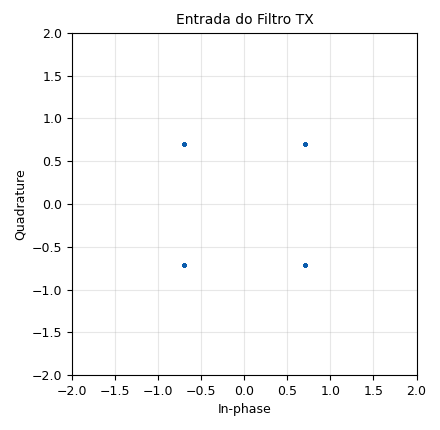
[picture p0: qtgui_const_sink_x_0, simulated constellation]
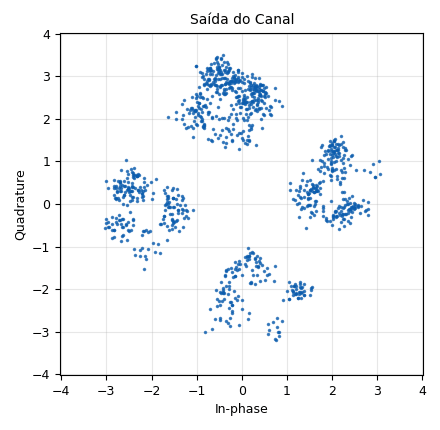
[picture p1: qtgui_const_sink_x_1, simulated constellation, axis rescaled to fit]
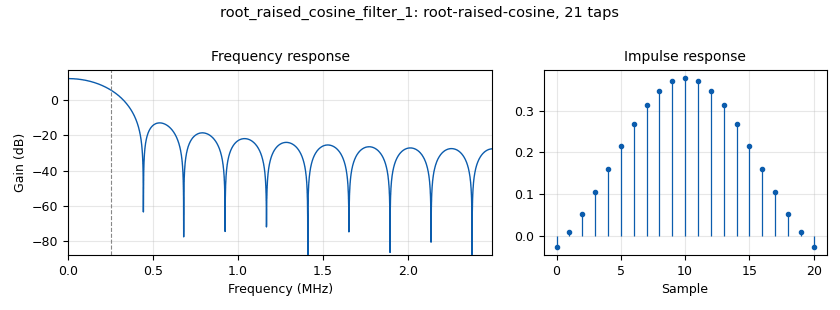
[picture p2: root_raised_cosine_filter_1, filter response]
options:
  parameters:
    author: picinin
    generate_options: qt_gui
    id: projetoDSPII
    output_language: python
    title: Not titled yet
  states: {}

blocks:
- name: QAM4
  id: variable_constellation
  parameters:
    const_points: '[-1-1j, -1+1j, 1+1j, 1-1j]'
    dims: '1'
    normalization: digital.constellation.AMPLITUDE_NORMALIZATION
    precision: '8'
    rot_sym: '4'
    sym_map: '[0, 1, 2, 3]'
    type: calcdist
  states: {}
- name: alga
  id: variable_adaptive_algorithm
  parameters:
    cons: QAM4
    modulus: '4'
    step_size: '.005'
    type: lms
  states: {}
- name: alpha
  id: variable_qtgui_range
  parameters:
    gui_hint: 0,0,1,1
    rangeType: int
    start: '0'
    step: '1'
    stop: '16'
    value: '0'
  states: {}
- name: bb_rate
  id: variable
  parameters:
    value: 5e5
  states: {}
- name: head
  id: variable_tag_object
  parameters:
    key: pmt.intern("training_start")
    offset: '1'
    src: pmt.intern("src")
    value: pmt.intern("Training Sequence")
  states: {}
- name: interp
  id: variable
  parameters:
    value: '10'
  states: {}
- name: message
  id: variable
  parameters:
    value: list(ord(i) for i in 'Teste QPSK...')
  states: {}
- name: preamble
  id: variable
  parameters:
    value: list(ord(i) for i in "Sequencia de treinamento do preambulo da mensagem...")
  states: {}
- name: samp_rate
  id: variable
  parameters:
    value: '32000'
  states: {}
- name: sym_dly
  id: variable_qtgui_range
  parameters:
    gui_hint: 0,1,1,1
    rangeType: int
    start: '0'
    step: '1'
    stop: '16'
    value: '0'
  states: {}
- name: analog_noise_source_x_0
  id: analog_noise_source_x
  parameters:
    amp: '0.03'
    noise_type: analog.GR_GAUSSIAN
    seed: '0'
    type: complex
  states: {state: disabled}
- name: blocks_add_xx_0
  id: blocks_add_xx
  parameters:
    type: complex
  states: {state: disabled}
- name: blocks_delay_0
  id: blocks_delay
  parameters:
    delay: sym_dly
    type: byte
  states: {}
- name: blocks_file_sink_0
  id: blocks_file_sink
  parameters:
    file: /dev/pts/0
    type: byte
  states: {}
- name: blocks_file_sink_1
  id: blocks_file_sink
  parameters:
    file: /home/picinin/Desktop/DSPII/evm_meas.txt
    type: float
  states: {state: disabled}
- name: blocks_packed_to_unpacked_xx_0
  id: blocks_packed_to_unpacked_xx
  parameters:
    bits_per_chunk: '2'
    endianness: gr.GR_MSB_FIRST
    type: byte
  states: {}
- name: blocks_tag_gate_0
  id: blocks_tag_gate
  parameters:
    propagate_tags: 'False'
    type: complex
  states: {}
- name: blocks_throttle2_0_0
  id: blocks_throttle2
  parameters:
    ignoretag: 'False'
    samples_per_second: bb_rate
    type: byte
  states: {}
- name: blocks_unpacked_to_packed_xx_0
  id: blocks_unpacked_to_packed_xx
  parameters:
    bits_per_chunk: '1'
    endianness: gr.GR_MSB_FIRST
    type: byte
  states: {}
- name: blocks_vector_source_x_0
  id: blocks_vector_source_x
  parameters:
    repeat: 'True'
    tags: '[head]'
    type: byte
    vector: preamble+message
  states: {}
- name: channels_dynamic_channel_model_0
  id: channels_dynamic_channel_model
  parameters:
    LOS: 'False'
    N: '8'
    cfo_maxdev: 1e3
    cfo_stdev: '0.01'
    delays: '[0.0,0.1,1.3]'
    fD: '1.0'
    mags: '[1,0.99,0.97]'
    noise_amp: '0.2'
    ntaps: '8'
    samp_rate: interp*bb_rate
    seed: '1235472534997635'
    sro_maxdev: 1e3
    sro_stdev: '0.01'
  states: {}
- name: digital_binary_slicer_fb_0
  id: digital_binary_slicer_fb
  parameters: {}
  states: {}
- name: digital_constellation_encoder_bc_0
  id: digital_constellation_encoder_bc
  parameters:
    constellation: QAM4
  states: {}
- name: digital_constellation_soft_decoder_cf_0
  id: digital_constellation_soft_decoder_cf
  parameters:
    constellation: QAM4
    npwr: '-1'
  states: {}
- name: digital_decision_feedback_equalizer_0
  id: digital_decision_feedback_equalizer
  parameters:
    adapt_after_training: 'False'
    alg: alga
    num_taps_fwd: '5'
    num_taps_rev: '3'
    sps: '1'
    training_sequence: '[(-1+1j), (-1+1j), (-1-1j), (1-1j), (-1+1j), (1+1j), (-1+1j), (-1+1j), (-1+1j), (1-1j), (-1-1j), (-1+1j), (-1+1j), (1-1j), (-1+1j), (-1+1j), (-1+1j), (1+1j), (-1+1j), (-1+1j), (-1+1j), (1+1j), (1-1j), (1+1j), (-1+1j), (1+1j), (-1-1j), (1-1j), (-1+1j), (1+1j), (1+1j), (-1+1j), (-1+1j), (1+1j), (-1-1j), (-1+1j), (-1-1j), (1+1j), (-1-1j), (-1-1j), (-1+1j), (1+1j), (-1+1j), (-1-1j), (-1+1j), (1+1j), (-1+1j), (-1+1j), (-1-1j), (1+1j), (-1-1j), (-1-1j), (-1+1j), (1-1j), (-1+1j), (-1-1j), (-1+1j), (1-1j), (-1-1j), (1+1j), (-1+1j), (1+1j), (-1+1j), (-1+1j), (-1+1j), (1+1j), (1+1j), (-1+1j), (-1+1j), (1+1j), (1-1j), (1+1j), (-1+1j), (1+1j), (-1-1j), (-1+1j), (-1+1j), (1+1j), (1-1j), (-1+1j), (-1+1j), (1+1j), (-1+1j), (-1+1j), (-1+1j), (1+1j), (1-1j), (1+1j), (-1+1j), (1-1j), (-1+1j), (-1-1j), (-1+1j), (1+1j), (1-1j), (1-1j), (-1-1j), (1+1j), (-1-1j), (-1-1j), (-1+1j), (1+1j), (-1+1j), (-1-1j), (-1+1j), (1+1j), (1-1j), (1-1j), (-1-1j), (1+1j), (-1-1j), (-1-1j), (-1+1j), (1-1j), (-1-1j), (-1-1j), (-1+1j), (1-1j), (-1-1j), (1+1j), (-1+1j), (1+1j), (-1+1j), (-1+1j), (-1+1j), (1+1j), (-1-1j), (-1+1j), (-1+1j), (1+1j), (1-1j), (-1+1j), (-1+1j), (1+1j), (-1-1j), (1+1j), (-1+1j), (1-1j), (-1+1j), (-1+1j), (-1+1j), (1+1j), (1-1j), (-1-1j), (-1+1j), (1+1j), (1-1j), (1-1j), (-1-1j), (1+1j), (-1-1j), (-1-1j), (-1+1j), (1+1j), (-1+1j), (-1-1j), (-1+1j), (1+1j), (-1-1j), (-1+1j), (-1-1j), (1+1j), (-1-1j), (-1-1j), (-1+1j), (1+1j), (1-1j), (-1+1j), (-1+1j), (1+1j), (-1+1j), (-1+1j), (-1+1j), (1+1j), (1-1j), (1+1j), (-1+1j), (1-1j), (-1-1j), (1-1j), (-1+1j), (1+1j), (-1-1j), (-1+1j), (-1+1j), (1+1j), (-1+1j), (1-1j), (-1+1j), (1+1j), (-1+1j), (-1+1j), (-1+1j), (1+1j), (1-1j), (-1+1j), (-1-1j), (1+1j), (1-1j), (1+1j), (-1-1j), (1+1j), (1-1j), (1+1j), (-1-1j), (1+1j), (1-1j), (1+1j)]'
    training_start_tag: training_start
  states: {state: disabled}
- name: digital_meas_evm_cc_0
  id: digital_meas_evm_cc
  parameters:
    cons: QAM4
    meas_type: digital.evm_measurement_t.EVM_DB
  states: {state: disabled}
- name: epy_block_0
  id: epy_block
  parameters:
    _source_code: "\"\"\"\nEmbedded Python Blocks:\n\nEach time this file is saved, GRC will instantiate the first class it finds\nto get ports and parameters of your block. The arguments to __init__  will\nbe the parameters. All of them are required to have default values!\n\"\"\"\n\nimport numpy as np\nfrom gnuradio import gr\nimport torch\nfrom torch import nn\nimport pmt\n\n\nclass NeuralNetwork(nn.Module):\n    def __init__(self):\n        super().__init__()\n        #self.flatten = nn.Flatten()\n        self.linear_relu_stack = nn.Sequential(\n            nn.Linear(10*2, 8*2),\n            nn.Tanh(),\n            nn.Linear(8*2, 4*2),\n            nn.Tanh(),\n            nn.Linear(4*2, 2)\n        )\n\n    def forward(self, x):\n        if isinstance(x, np.ndarray):\n            #x_real = np.stack((x.real, x.imag), axis=1).astype(np.float32)  # shape: [N, 2]\n            #norms = np.linalg.norm(x_real, axis=1, keepdims=True) + 1e-8\n            #x_real = x_real / norms\n            xp = torch.from_numpy(x)\n            logits = self.linear_relu_stack(xp)\n            y = logits.detach().numpy().astype(np.complex64)\n            complex_out = y[:, 0] + 1j * y[:, 1]\n            return complex_out.astype(np.complex64)\n        else:\n            logits = self.linear_relu_stack(x)\n            return logits  # return raw tensor, not converted to NumPy\n    \nclass blk(gr.sync_block):  # other base classes are basic_block, decim_block, interp_block\n    \"\"\"Multi-Layer Perceptron Equalizer\"\"\"\n\n    def __init__(self, training_sequence=[], tag_key = ''):  # only default arguments here\n        \"\"\"arguments to this function show up as parameters in GRC\"\"\"\n        gr.sync_block.__init__(\n            self,\n            name='MLPE',   # will show up in GRC\n            in_sig=[np.complex64],\n            out_sig=[np.complex64]\n        )\n        self.training_sequence = np.array(training_sequence, dtype=np.complex64)\n        self.tag_key = tag_key\n        self.model = NeuralNetwork().to(\"cpu\")\n        self.loss_fn = nn.MSELoss()\n        self.optimizer = torch.optim.SGD(self.model.parameters(), lr=50e-3, momentum = 0.50, nesterov = False)\n        self.wrap_sequence = np.zeros(19, dtype = np.float32)\n\n    def work(self, input_items, output_items):\n        \"\"\"example: multiply with constant\"\"\"\n        in0 = input_items[0]\n        n_items = len(in0)\n\n        # get all tags associated with input_items[0]\n        tagTuple = self.get_tags_in_window(0, 0, n_items)\n\n        # loop through all input tags\n        for tag in tagTuple:\n            if (pmt.to_python(tag.key) == self.tag_key):\n                self.model.train()\n                abs_offset = tag.offset - self.nitems_read(0)\n                train_len = len(self.training_sequence)\n                if abs_offset + train_len <= n_items:\n                    input_window = in0[abs_offset:abs_offset + train_len]\n                    self.train_on_window(input_window, self.training_sequence)\n                else:\n                    input_window = in0[abs_offset::]\n                    croped_sequence = self.training_sequence[:len(input_window)]\n                    self.train_on_window(input_window, croped_sequence)\n                  \n        float_input = np.stack((in0.real, in0.imag), axis=1).astype(np.float32) #batch x 2\n        #flat_input = np.concatenate((float_input.flatten(),np.zeros(19, dtype = np.float32)))\n        flat_input = np.concatenate((self.wrap_sequence, float_input.flatten()))\n        windowed_input = np.lib.stride_tricks.sliding_window_view(flat_input, 20)\n        resized_input = windowed_input[::2]\n        self.wrap_sequence = flat_input[(len(flat_input)-19)::]\n\n        self.model.eval()\n        output_items[0][:] = self.model(resized_input)\n        return len(output_items[0])\n    \n    def train_on_window(self, input_data, target_data):\n        #self.model.train()\n        x = np.stack((input_data.real, input_data.imag), axis=1).astype(np.float32)\n        y = np.stack((target_data.real, target_data.imag), axis=1).astype(np.float32)\n        #x_flat = np.concatenate((x.flatten(),np.zeros(19, dtype = np.float32)))\n        x_flat = np.concatenate((self.wrap_sequence, x.flatten()))\n        x_window =  np.lib.stride_tricks.sliding_window_view(x_flat, 20)\n        x_resize = x_window[::2]\n\n        x_tensor = torch.from_numpy(x_resize)\n        y_tensor = torch.from_numpy(y)\n\n        pred = self.model(x_tensor)\n\n        loss = self.loss_fn(pred[:(len(pred)-20)], y_tensor[:(len(y_tensor)-20)])\n\n        loss.backward()\n        self.optimizer.step()\n        self.optimizer.zero_grad()\n\n\n"
    tag_key: '"training_start"'
    training_sequence: '[(-1+1j), (-1+1j), (-1-1j), (1-1j), (-1+1j), (1+1j), (-1+1j), (-1+1j), (-1+1j), (1-1j), (-1-1j), (-1+1j), (-1+1j), (1-1j), (-1+1j), (-1+1j), (-1+1j), (1+1j), (-1+1j), (-1+1j), (-1+1j), (1+1j), (1-1j), (1+1j), (-1+1j), (1+1j), (-1-1j), (1-1j), (-1+1j), (1+1j), (1+1j), (-1+1j), (-1+1j), (1+1j), (-1-1j), (-1+1j), (-1-1j), (1+1j), (-1-1j), (-1-1j), (-1+1j), (1+1j), (-1+1j), (-1-1j), (-1+1j), (1+1j), (-1+1j), (-1+1j), (-1-1j), (1+1j), (-1-1j), (-1-1j), (-1+1j), (1-1j), (-1+1j), (-1-1j), (-1+1j), (1-1j), (-1-1j), (1+1j), (-1+1j), (1+1j), (-1+1j), (-1+1j), (-1+1j), (1+1j), (1+1j), (-1+1j), (-1+1j), (1+1j), (1-1j), (1+1j), (-1+1j), (1+1j), (-1-1j), (-1+1j), (-1+1j), (1+1j), (1-1j), (-1+1j), (-1+1j), (1+1j), (-1+1j), (-1+1j), (-1+1j), (1+1j), (1-1j), (1+1j), (-1+1j), (1-1j), (-1+1j), (-1-1j), (-1+1j), (1+1j), (1-1j), (1-1j), (-1-1j), (1+1j), (-1-1j), (-1-1j), (-1+1j), (1+1j), (-1+1j), (-1-1j), (-1+1j), (1+1j), (1-1j), (1-1j), (-1-1j), (1+1j), (-1-1j), (-1-1j), (-1+1j), (1-1j), (-1-1j), (-1-1j), (-1+1j), (1-1j), (-1-1j), (1+1j), (-1+1j), (1+1j), (-1+1j), (-1+1j), (-1+1j), (1+1j), (-1-1j), (-1+1j), (-1+1j), (1+1j), (1-1j), (-1+1j), (-1+1j), (1+1j), (-1-1j), (1+1j), (-1+1j), (1-1j), (-1+1j), (-1+1j), (-1+1j), (1+1j), (1-1j), (-1-1j), (-1+1j), (1+1j), (1-1j), (1-1j), (-1-1j), (1+1j), (-1-1j), (-1-1j), (-1+1j), (1+1j), (-1+1j), (-1-1j), (-1+1j), (1+1j), (-1-1j), (-1+1j), (-1-1j), (1+1j), (-1-1j), (-1-1j), (-1+1j), (1+1j), (1-1j), (-1+1j), (-1+1j), (1+1j), (-1+1j), (-1+1j), (-1+1j), (1+1j), (1-1j), (1+1j), (-1+1j), (1-1j), (-1-1j), (1-1j), (-1+1j), (1+1j), (-1-1j), (-1+1j), (-1+1j), (1+1j), (-1+1j), (1-1j), (-1+1j), (1+1j), (-1+1j), (-1+1j), (-1+1j), (1+1j), (1-1j), (-1+1j), (-1-1j), (1+1j), (1-1j), (1+1j), (-1-1j), (1+1j), (1-1j), (1+1j), (-1-1j), (1+1j), (1-1j), (1+1j)]'
  states: {}
- name: qtgui_const_sink_x_0
  id: qtgui_const_sink_x
  parameters:
    gui_hint: 1,0,1,1
    name: Entrada do Filtro TX
    size: '1024'
    type: complex
  states: {}
- name: qtgui_const_sink_x_1
  id: qtgui_const_sink_x
  parameters:
    gui_hint: 1,1,1,1
    name: '"Saída do Canal"'
    size: '1024'
    type: complex
  states: {}
- name: qtgui_const_sink_x_1_0
  id: qtgui_const_sink_x
  parameters:
    gui_hint: 2,0,1,1
    name: '"Saída Equalizador"'
    size: '1024'
    type: complex
  states: {}
- name: root_raised_cosine_filter_1
  id: root_raised_cosine_filter
  parameters:
    alpha: '0.3'
    gain: '4'
    interp: interp
    ntaps: 2*interp
    samp_rate: interp*bb_rate
    sym_rate: bb_rate
    type: interp_fir_filter_ccf
  states: {}
- name: root_raised_cosine_filter_1_0_0
  id: root_raised_cosine_filter
  parameters:
    alpha: '0.3'
    decim: interp
    gain: '4'
    interp: interp
    ntaps: 2*interp
    samp_rate: interp*bb_rate
    sym_rate: bb_rate
    type: fir_filter_ccf
  states: {}

connections:
- [analog_noise_source_x_0, '0', blocks_add_xx_0, '1']
- [blocks_add_xx_0, '0', root_raised_cosine_filter_1_0_0, '0']
- [blocks_delay_0, '0', blocks_unpacked_to_packed_xx_0, '0']
- [blocks_packed_to_unpacked_xx_0, '0', digital_constellation_encoder_bc_0, '0']
- [blocks_tag_gate_0, '0', digital_constellation_soft_decoder_cf_0, '0']
- [blocks_tag_gate_0, '0', digital_meas_evm_cc_0, '0']
- [blocks_throttle2_0_0, '0', blocks_packed_to_unpacked_xx_0, '0']
- [blocks_unpacked_to_packed_xx_0, '0', blocks_file_sink_0, '0']
- [blocks_vector_source_x_0, '0', blocks_throttle2_0_0, '0']
- [channels_dynamic_channel_model_0, '0', root_raised_cosine_filter_1_0_0, '0']
- [digital_binary_slicer_fb_0, '0', blocks_delay_0, '0']
- [digital_constellation_encoder_bc_0, '0', qtgui_const_sink_x_0, '0']
- [digital_constellation_encoder_bc_0, '0', root_raised_cosine_filter_1, '0']
- [digital_constellation_soft_decoder_cf_0, '0', digital_binary_slicer_fb_0, '0']
- [digital_decision_feedback_equalizer_0, '0', blocks_tag_gate_0, '0']
- [digital_decision_feedback_equalizer_0, '0', qtgui_const_sink_x_1_0, '0']
- [digital_meas_evm_cc_0, '0', blocks_file_sink_1, '0']
- [epy_block_0, '0', blocks_tag_gate_0, '0']
- [epy_block_0, '0', qtgui_const_sink_x_1_0, '0']
- [root_raised_cosine_filter_1, '0', blocks_add_xx_0, '0']
- [root_raised_cosine_filter_1, '0', channels_dynamic_channel_model_0, '0']
- [root_raised_cosine_filter_1_0_0, '0', digital_decision_feedback_equalizer_0, '0']
- [root_raised_cosine_filter_1_0_0, '0', epy_block_0, '0']
- [root_raised_cosine_filter_1_0_0, '0', qtgui_const_sink_x_1, '0']

metadata:
  file_format: 1
  grc_version: 3.10.10.0
